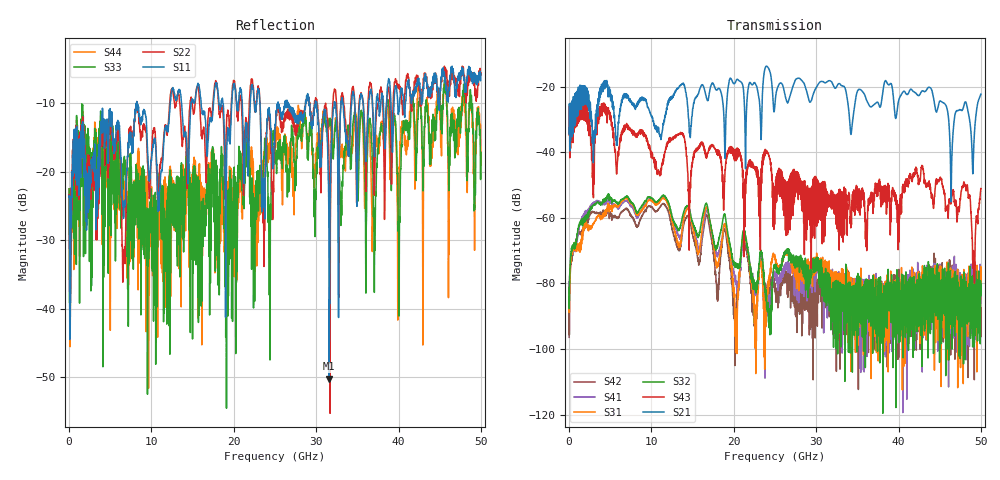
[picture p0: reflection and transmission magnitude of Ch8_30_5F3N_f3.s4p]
!Agilent Technologies,N5247A,US51170199,A.09.90.13
!Agilent N5247A: A.09.90.13
!Date: Wednesday, December 16, 2015 10:29:34
!Correction: S11(Full 4 Port(1,2,3,4))
!S12(Full 4 Port(1,2,3,4))
!S13(Full 4 Port(1,2,3,4))
!S14(Full 4 Port(1,2,3,4))
!S21(Full 4 Port(1,2,3,4))
!S22(Full 4 Port(1,2,3,4))
!S23(Full 4 Port(1,2,3,4))
!S24(Full 4 Port(1,2,3,4))
!S31(Full 4 Port(1,2,3,4))
!S32(Full 4 Port(1,2,3,4))
!S33(Full 4 Port(1,2,3,4))
!S34(Full 4 Port(1,2,3,4))
!S41(Full 4 Port(1,2,3,4))
!S42(Full 4 Port(1,2,3,4))
!S43(Full 4 Port(1,2,3,4))
!S44(Full 4 Port(1,2,3,4))
!S4P File: Measurements: <S11,S12,S13,S14>,
!<S21,S22,S23,S24>,
!<S31,S32,S33,S34>,
!<S41,S42,S43,S44>:
# Hz S  dB  R 50
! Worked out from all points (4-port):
!   3201 points, 10 MHz to 50 GHz, reference 50 ohm
!   strongest paths, dB at 10 MHz, 12.51 GHz, 25 GHz, 37.5 GHz, 50 GHz:
!     S21: -34.4, -23.5, -25.3, -24.8, -22.2
!     S43: -34.7, -35.9, -50.4, -50.2, -51.1
!     S32: -81.2, -59.8, -74.3, -91.4, -80.3
!     S31: -87.5, -61.0, -71.9, -89.7, -80.7
!     S41: -79.5, -59.9, -77.2, -84.5, -85.9
!     S42: -96.4, -63.4, -80.1, -85.9, -87.4
!   lowest |S11| = -50.2 dB at 31.58 GHz (marker M1), VSWR 1.01, Z = 49.8 - j0.26 ohm
!   |S11| at or under -10 dB: start of sweep to 8.216 GHz; 8.249 GHz to 12.28 GHz (4.029 GHz wide, 39.3 % of centre); 23.18 GHz to 25.36 GHz (2.176 GHz wide, 8.97 % of centre)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
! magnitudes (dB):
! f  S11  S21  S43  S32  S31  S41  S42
! 10 MHz  -23.7  -34.4  -34.7  -81.2  -87.5  -79.5  -96.4
! 2.869 GHz  -19.1  -34.0  -46.1  -56.3  -62.1  -55.7  -58.2
! 11.46 GHz  -16.4  -31.6  -42.8  -53.2  -54.1  -53.6  -55.7
! 31.58 GHz  -50.2  -18.2  -54.8  -84.2  -73.1  -83.3  -84.3
! 46.41 GHz  -5.1  -50.2  -55.3  -79.6  -85.9  -77.4  -83.7
! 49.13 GHz  -6.9  -39.0  -75.9  -90.0  -80.7  -88.2  -90.4
! 50 GHz  -5.7  -22.2  -51.1  -80.3  -80.7  -85.9  -87.4
